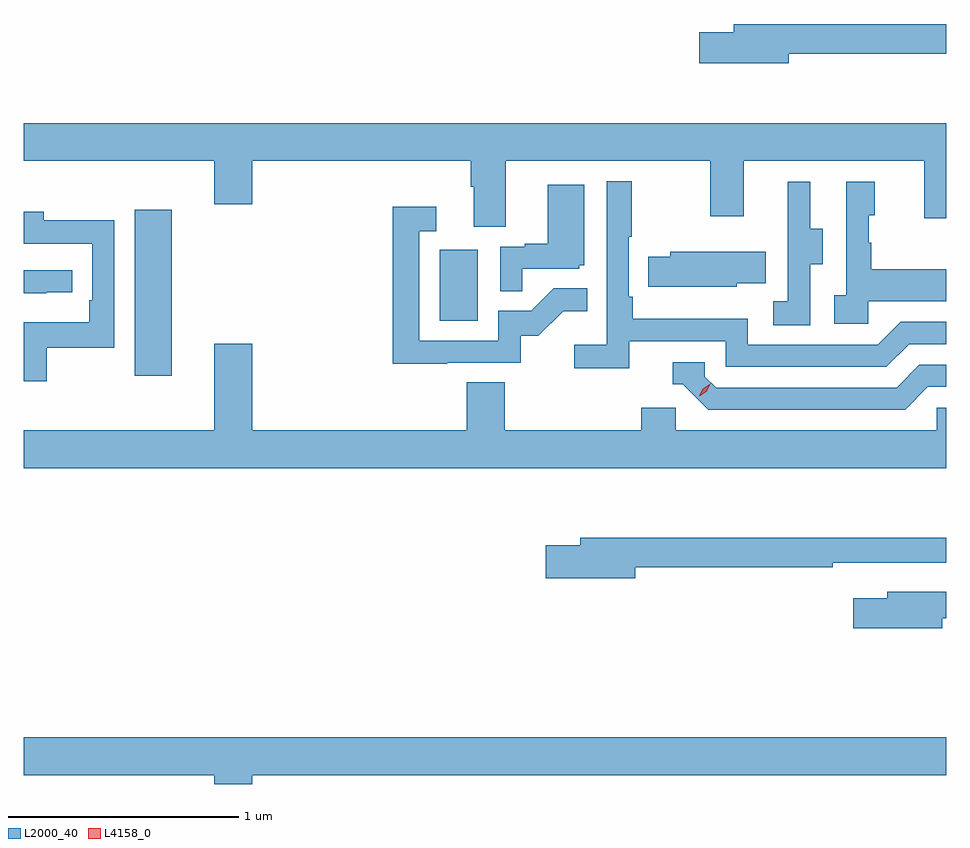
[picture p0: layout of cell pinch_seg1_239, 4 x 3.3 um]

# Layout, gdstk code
import gdstk
lib = gdstk.Library(unit=1e-6, precision=1e-09)
def R(c, l, rs):  # rectangles x0, y0, x1, y1
    for r in rs: c.add(gdstk.rectangle(r[:2], r[2:], *l))
def P(c, l, *ps):  # polygons
    for p in ps: c.add(gdstk.Polygon(p, *l))
L2000_40 = (2000, 40)
L4158_0 = (4158, 0)

pinch_seg1_239 = lib.new_cell('pinch_seg1_239')
R(pinch_seg1_239, L2000_40, [(907.919,570.78,908.08,571.501), (909.242,571.02,909.406,571.327)])
P(pinch_seg1_239, L2000_40, [(910.756,572.178),(911.438,572.178),(911.438,572.306),(910.517,572.306),(910.517,572.27),(910.368,572.27),(910.368,572.135),(910.756,572.135)],
  [(909.529,571.712),(910.414,571.712),(910.414,571.473),(910.561,571.473),(910.561,571.712),(911.342,571.712),(911.342,571.464),(911.438,571.464),(911.438,571.876),(907.438,571.876),(907.438,571.712),(908.264,571.712),(908.264,571.524),(908.428,571.524),(908.428,571.712),(909.377,571.712),(909.377,571.6),(909.389,571.6),(909.389,571.426),(909.529,571.426)],
  [(910.064,570.93),(910.482,570.93),(910.482,570.819),(911.179,570.819),(911.278,570.918),(911.438,570.918),(911.438,571.014),(911.241,571.014),(911.142,570.915),(910.578,570.915),(910.578,571.027),(910.079,571.027),(910.079,571.123),(910.062,571.123),(910.062,571.384),(910.075,571.384),(910.075,571.624),(909.966,571.624),(909.966,570.916),(909.825,570.916),(909.825,570.814),(910.064,570.814)],
  [(910.848,571.264),(910.903,571.264),(910.903,571.419),(910.849,571.419),(910.849,571.621),(910.751,571.621),(910.751,571.407),(910.752,571.407),(910.752,571.103),(910.689,571.103),(910.689,571),(910.848,571)],
  [(911.1,571.103),(911.438,571.103),(911.438,571.243),(911.113,571.243),(911.113,571.358),(911.103,571.358),(911.103,571.476),(911.128,571.476),(911.128,571.621),(911.004,571.621),(911.004,571.13),(910.953,571.13),(910.953,571.005),(911.1,571.005)],
  [(909.599,571.245),(909.846,571.245),(909.846,571.26),(909.868,571.26),(909.868,571.609),(909.71,571.609),(909.71,571.354),(909.611,571.354),(909.611,571.341),(909.504,571.341),(909.504,571.147),(909.599,571.147)],
  [(909.275,570.837),(909.594,570.837),(909.594,570.954),(909.67,570.954),(909.777,571.061),(909.881,571.061),(909.881,571.16),(909.737,571.16),(909.639,571.062),(909.495,571.062),(909.495,570.933),(909.153,570.933),(909.153,571.407),(909.226,571.407),(909.226,571.513),(909.037,571.513),(909.037,570.832),(909.275,570.832)],
  [(907.537,570.903),(907.83,570.903),(907.83,571.454),(907.525,571.454),(907.525,571.492),(907.438,571.492),(907.438,571.353),(907.734,571.353),(907.734,571.108),(907.721,571.108),(907.721,571.012),(907.438,571.012),(907.438,570.756),(907.537,570.756)],
  [(910.53,571.181),(910.655,571.181),(910.655,571.318),(910.241,571.318),(910.241,571.296),(910.147,571.296),(910.147,571.167),(910.258,571.167),(910.258,571.166),(910.53,571.166)],
  [(907.535,571.143),(907.648,571.143),(907.648,571.239),(907.438,571.239),(907.438,571.138),(907.535,571.138)],
  [(911.438,570.642),(911.397,570.642),(911.397,570.544),(910.266,570.544),(910.266,570.642),(910.115,570.642),(910.115,570.544),(909.524,570.544),(909.524,570.752),(909.359,570.752),(909.359,570.544),(908.428,570.544),(908.428,570.919),(908.264,570.919),(908.264,570.544),(907.438,570.544),(907.438,570.38),(911.438,570.38)],
  [(911.359,570.732),(911.438,570.732),(911.438,570.828),(911.322,570.828),(911.223,570.729),(910.44,570.729),(910.392,570.777),(910.392,570.84),(910.253,570.84),(910.253,570.744),(910.296,570.744),(910.407,570.633),(911.26,570.633)],
  [(910.09,569.95),(910.946,569.95),(910.946,569.97),(911.438,569.97),(911.438,570.079),(909.851,570.079),(909.851,570.045),(909.702,570.045),(909.702,569.903),(910.09,569.903)],
  [(911.422,569.728),(911.438,569.728),(911.438,569.844),(911.183,569.844),(911.183,569.815),(911.034,569.815),(911.034,569.686),(911.422,569.686)],
  [(908.428,569.048),(911.438,569.048),(911.438,569.212),(907.438,569.212),(907.438,569.048),(908.264,569.048),(908.264,569.01),(908.428,569.01)])
P(pinch_seg1_239, L4158_0, [(910.367,570.692),(910.367,570.693),(910.383,570.725),(910.414,570.745),(910.415,570.745),(910.415,570.744),(910.398,570.712),(910.367,570.692)])

lib.write_gds('pinch_seg1_239.gds')
